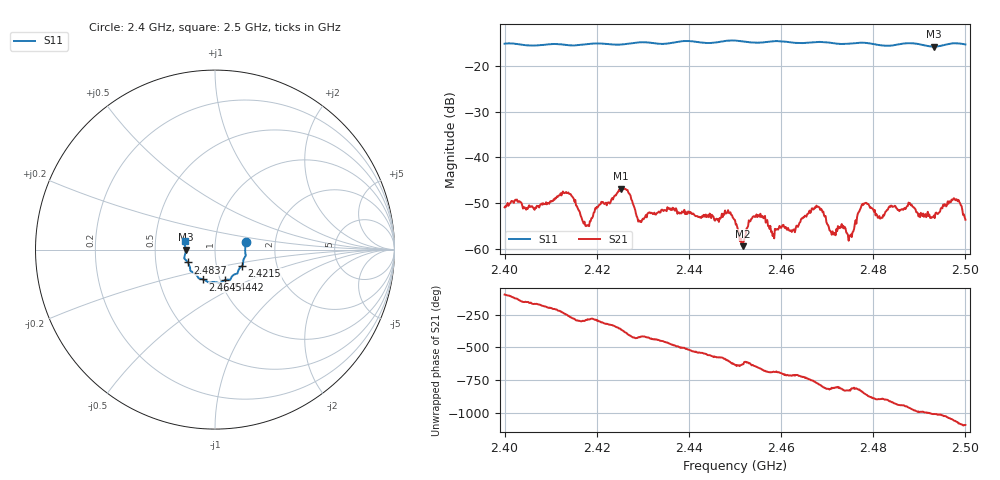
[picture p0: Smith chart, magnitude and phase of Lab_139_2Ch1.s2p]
# Hz S RI R 50
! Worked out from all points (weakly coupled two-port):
!   601 points, 2.4 GHz to 2.5 GHz, reference 50 ohm
!   highest |S21| = -46.88 dB at 2.4252 GHz (marker M1); lowest = -59.5 dB at 2.4517 GHz (marker M2)
!   lowest |S11| = -15.7 dB at 2.4932 GHz (marker M3), VSWR 1.39, Z = 35.9 - j0.0463 ohm
!   |S11| at or under -10 dB: start of sweep to end of sweep
!   S12 and S22 are empty: the file has one direction only
!   S11 on the Smith chart (normalised r, x): 2.4 GHz: 1.41, +0.12; 2.4215 GHz: 1.33, -0.25; 2.4442 GHz: 1.05, -0.37; 2.4645 GHz: 0.83, -0.29; 2.4837 GHz: 0.73, -0.11; 2.5 GHz: 0.71, +0.07
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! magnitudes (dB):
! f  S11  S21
! 2.4 GHz  -15.1  -50.9
! 2.4132 GHz  -15.3  -47.8
! 2.4167 GHz  -15.3  -53.1
! 2.418 GHz  -15.2  -54.9
! 2.4215 GHz  -15.1  -50.1
! 2.4252 GHz  -15.3  -46.9
! 2.4293 GHz  -14.8  -54.1
! 2.4333 GHz  -15.1  -52.0
! 2.4442 GHz  -15.0  -52.6
! 2.45 GHz  -14.4  -53.8
! 2.4517 GHz  -14.6  -59.5
! 2.4542 GHz  -14.9  -52.9
! 2.4583 GHz  -14.5  -56.8
! 2.4645 GHz  -15.0  -53.4
! 2.4667 GHz  -14.8  -51.2
! 2.4748 GHz  -15.1  -57.2
! 2.478 GHz  -14.9  -50.1
! 2.4833 GHz  -15.5  -51.0
! 2.4837 GHz  -15.5  -50.9
! 2.4932 GHz  -15.7  -52.7
! 2.4977 GHz  -15.0  -49.2
! 2.5 GHz  -15.3  -53.7
